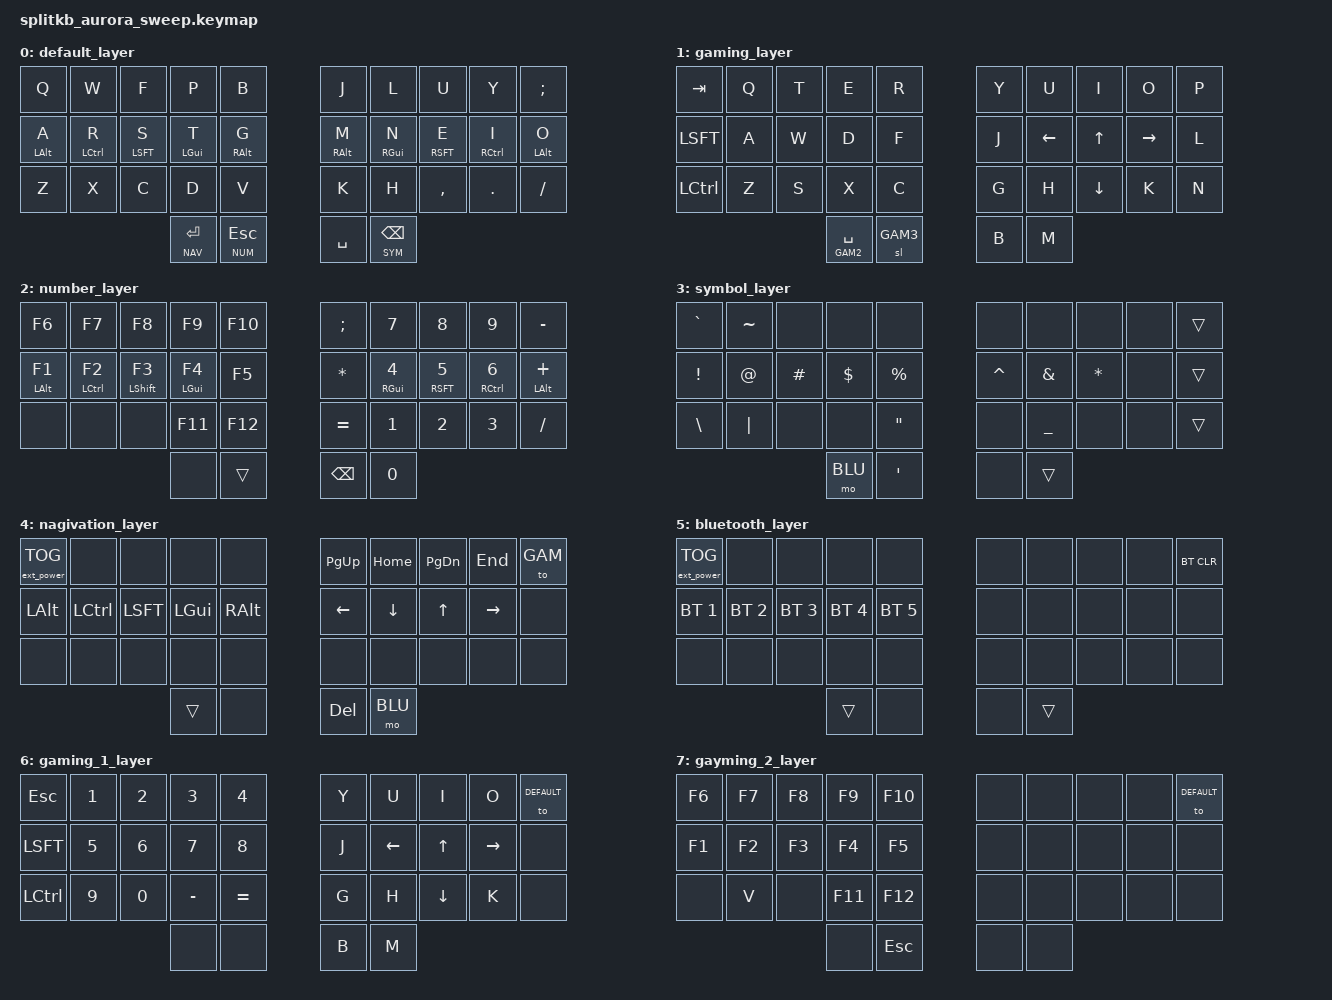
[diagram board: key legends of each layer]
/*
 * Copyright (c) 2022 The ZMK Contributors
 *
 * SPDX-License-Identifier: MIT
 */

#include <behaviors.dtsi>
#include <dt-bindings/zmk/keys.h>
#include <dt-bindings/zmk/bt.h>
#include <dt-bindings/zmk/ext_power.h>

#include "../zmk-nodefree-config/helper.h"

#define PWR_TOGGLE &ext_power EP_TOG

#define DEFAULT 0
#define GAM 1
#define NUM 2
#define SYM 3
#define NAV 4
#define BLU 5
#define GAM2 6
#define GAM3 7

/* custom behaviors */

// homerow mods
ZMK_BEHAVIOR(hrm, hold_tap,
    flavor = "balanced";
    tapping-term-ms = <280>;
    quick-tap-ms = <125>;
    bindings = <&kp>, <&kp>;
)

&mt {
    flavor = "tap-preferred";
    tapping_term_ms = <200>;
};

&led_strip {
    chain-length = <23>;
};

&caps_word {
    continue-list = <UNDERSCORE MINUS>;
};

/ {

    combos {
        compatible = "zmk,combos";

        combo_caps_word {
            layers = <DEFAULT>;
            timeout-ms = <50>;
            key-positions = <12 17>;
            bindings = <&caps_word>;
        };

        combo_tab {
            layers = <DEFAULT>;
            timeout-ms = <50>;
            key-positions = <31 32>;
            bindings = <&kp TAB>;
        };

        combo_col {
            layers = <DEFAULT>;
            timeout-ms = <50>;
            key-positions = <8 9>;
            bindings = <&kp COLON>;
        };

        combo_lparanthesis {
            layers = <DEFAULT>;
            timeout-ms = <50>;
            key-positions = <6 7>;
            bindings = <&kp LPAR>;
        };
        combo_rparanthesis {
            layers = <DEFAULT>;
            timeout-ms = <50>;
            key-positions = <7 8>;
            bindings = <&kp RPAR>;
        };

        combo_lessthan {
            layers = <DEFAULT>;
            timeout-ms = <50>;
            key-positions = <26 27>;
            bindings = <&kp LESS_THAN>;
        };
        combo_greaterthan {
            layers = <DEFAULT>;
            timeout-ms = <50>;
            key-positions = <27 28>;
            bindings = <&kp GREATER_THAN>;
        };

        combo_leftbracket {
            layers = <DEFAULT>;
            timeout-ms = <50>;
            key-positions = <1 2>;
            bindings = <&kp LEFT_BRACKET>;
        };
        combo_rightbracket {
            layers = <DEFAULT>;
            timeout-ms = <50>;
            key-positions = <2 3>;
            bindings = <&kp RIGHT_BRACKET>;
        };

        combo_leftbrace {
            layers = <DEFAULT>;
            timeout-ms = <50>;
            key-positions = <21 22>;
            bindings = <&kp LEFT_BRACE>;
        };
        combo_rightbrace {
            layers = <DEFAULT>;
            timeout-ms = <50>;
            key-positions = <22 23>;
            bindings = <&kp RIGHT_BRACE>;
        };
    };

    keymap {
        compatible = "zmk,keymap";

        default_layer {
            bindings = <
            &kp Q        &kp W        &kp F        &kp P        &kp B                    &kp J        &kp L        &kp U        &kp Y        &kp SCLN 
            &hrm LALT A  &hrm LCTL R &hrm LSFT S   &hrm LGUI T  &hrm RALT G              &hrm RALT M  &hrm RGUI N  &hrm RSFT E  &hrm RCTL I  &hrm LALT O
            &kp Z        &kp X        &kp C        &kp D        &kp V                    &kp K        &kp H        &kp CMMA     &kp DOT      &kp FSLH
                                                   &lt NAV RET  &lt NUM ESC              &kp SPC      &lt SYM BSPC
            >;
        };
        
        gaming_layer {
            bindings = <
            &kp TAB     &kp Q    &kp T    &kp E    &kp R                   &kp Y   &kp U      &kp I      &kp O       &kp P
            &kp LSFT    &kp A    &kp W    &kp D    &kp F                   &kp J   &kp LEFT   &kp UP     &kp RIGHT   &kp L
            &kp LCTL    &kp Z    &kp S    &kp X    &kp C                   &kp G   &kp H      &kp DOWN   &kp K       &kp N
                                   &lt GAM2 SPC    &sl GAM3                &kp B   &kp M
            >;
        };

        number_layer {
            bindings = <
            &kp F6          &kp F7          &kp F8          &kp F9          &kp F10                 &kp SCLN        &kp NUM_7           &kp NUM_8           &kp NUM_9           &kp MINUS 
            &hrm LALT F1    &hrm LCTL F2    &hrm LSHFT F3   &hrm LGUI F4    &kp F5                  &kp STAR        &hrm RGUI NUM_4     &hrm RSFT NUM_5     &hrm RCTL NUM_6     &hrm LALT PLUS
            &none           &none           &none           &kp F11         &kp F12                 &kp EQUAL       &kp NUM_1           &kp NUM_2           &kp NUM_3           &kp FSLH
                                                            &none           &trans                  &kp BSPC        &kp NUM_0
            >;
        };

        symbol_layer {
            bindings = <
            &kp GRAVE    &kp TILDE    &none        &none        &none                    &none        &none        &none        &none        &trans 
            &kp EXCL     &kp AT       &kp HASH     &kp DOLLAR   &kp PERCENT              &kp CARET    &kp AMPS     &kp STAR     &none        &trans
            &kp BSLH     &kp PIPE     &none        &none        &kp DQT                  &none        &kp UNDER    &none        &none        &trans
                                                   &mo BLU      &kp SQT                  &none        &trans
            >;
        };

        nagivation_layer {
            bindings = <
            PWR_TOGGLE   &none        &none        &none        &none                    &kp PG_UP    &kp HOME     &kp PG_DN    &kp END      &to GAM 
            &kp LALT     &kp LCTL     &kp LSFT     &kp LGUI     &kp RALT                 &kp LEFT     &kp DOWN     &kp UP       &kp RIGHT    &none
            &none        &none        &none        &none        &none                    &none        &none        &none        &none        &none
                                                   &trans       &none                    &kp DEL      &mo BLU
            >;
        };

        bluetooth_layer {
            bindings = <
            PWR_TOGGLE      &none           &none           &none           &none                   &none   &none   &none   &none   &bt BT_CLR 
            &bt BT_SEL 1    &bt BT_SEL 2    &bt BT_SEL 3    &bt BT_SEL 4    &bt BT_SEL 5            &none   &none   &none   &none   &none
            &none           &none           &none           &none           &none                   &none   &none   &none   &none   &none
                                                            &trans          &none                   &none   &trans
            >;
        };

        gaming_1_layer {
            bindings = <
            &kp ESC     &kp N1    &kp N2    &kp N3        &kp N4                 &kp Y   &kp U      &kp I      &kp O       &to DEFAULT
            &kp LSFT    &kp N5    &kp N6    &kp N7        &kp N8                 &kp J   &kp LEFT   &kp UP     &kp RIGHT   &none
            &kp LCTL    &kp N9    &kp N0    &kp MINUS     &kp EQUAL              &kp G   &kp H      &kp DOWN   &kp K       &none
                                            &none         &none                          &kp B   &kp M
            >;
        };

        gayming_2_layer {
            bindings = <
            &kp F6     &kp F7    &kp F8    &kp F9        &kp F10               &none   &none   &none   &none   &to DEFAULT
            &kp F1     &kp F2    &kp F3    &kp F4        &kp F5                &none   &none   &none   &none   &none
            &none      &kp V     &none     &kp F11       &kp F12               &none   &none   &none   &none   &none
                                           &none         &kp ESC               &none   &none
            >;
        };
    };
};
